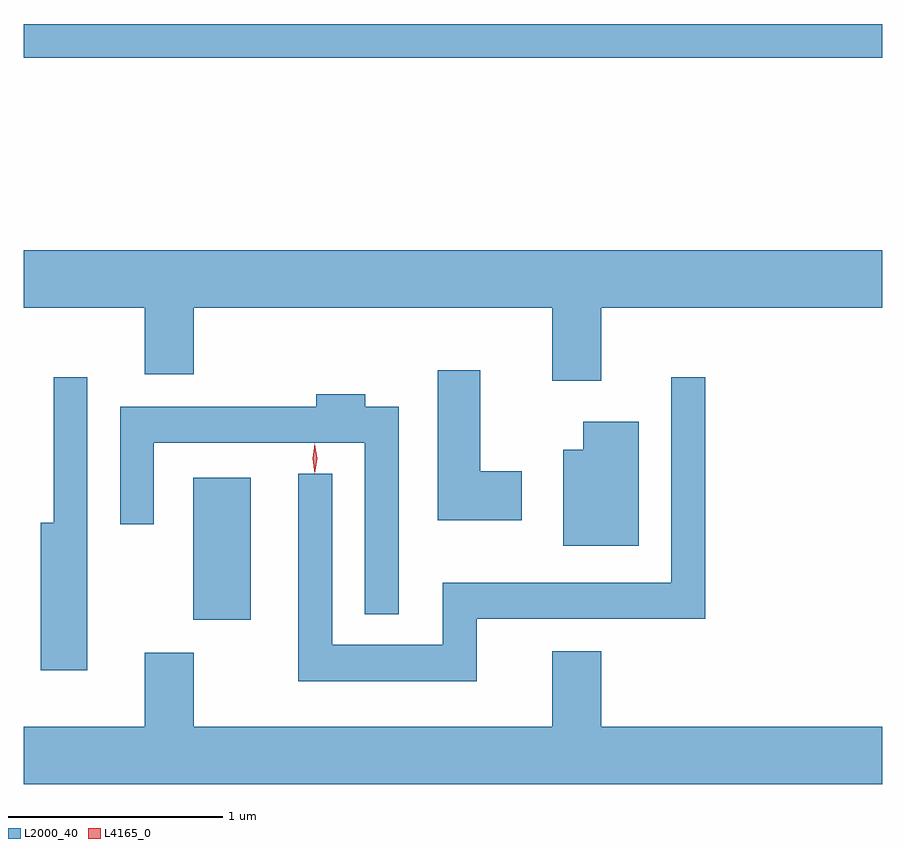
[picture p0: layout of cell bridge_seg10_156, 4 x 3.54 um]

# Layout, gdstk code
import gdstk
lib = gdstk.Library(unit=1e-6, precision=1e-09)
def R(c, l, rs):  # rectangles x0, y0, x1, y1
    for r in rs: c.add(gdstk.rectangle(r[:2], r[2:], *l))
def P(c, l, *ps):  # polygons
    for p in ps: c.add(gdstk.Polygon(p, *l))
L2000_40 = (2000, 40)
L4165_0 = (4165, 0)

bridge_seg10_156 = lib.new_cell('bridge_seg10_156')
R(bridge_seg10_156, L2000_40, [(1663.816,2092.481,1664.084,2093.144), (1663.028,2095.101,1667.028,2095.259)])
P(bridge_seg10_156, L2000_40, [(1665.719,2093.936),(1667.028,2093.936),(1667.028,2094.204),(1663.028,2094.204),(1663.028,2093.936),(1663.591,2093.936),(1663.591,2093.626),(1663.819,2093.626),(1663.819,2093.936),(1665.491,2093.936),(1665.491,2093.596),(1665.719,2093.596)],
  [(1665.349,2093.174),(1665.154,2093.174),(1665.154,2093.644),(1664.956,2093.644),(1664.956,2092.946),(1665.349,2092.946)],
  [(1663.324,2093.613),(1663.166,2093.613),(1663.166,2092.934),(1663.106,2092.934),(1663.106,2092.246),(1663.324,2092.246)],
  [(1665.139,2092.486),(1666.204,2092.486),(1666.204,2093.613),(1666.046,2093.613),(1666.046,2092.654),(1664.981,2092.654),(1664.981,2092.364),(1664.464,2092.364),(1664.464,2093.163),(1664.306,2093.163),(1664.306,2092.196),(1665.139,2092.196)],
  [(1664.774,2093.474),(1664.619,2093.474),(1664.619,2093.534),(1664.391,2093.534),(1664.391,2093.474),(1663.476,2093.474),(1663.476,2092.928),(1663.634,2092.928),(1663.634,2093.306),(1664.616,2093.306),(1664.616,2092.508),(1664.774,2092.508)],
  [(1665.894,2093.404),(1665.636,2093.404),(1665.636,2093.274),(1665.541,2093.274),(1665.541,2092.826),(1665.894,2092.826)],
  [(1667.028,2091.984),(1665.719,2091.984),(1665.719,2092.334),(1665.491,2092.334),(1665.491,2091.984),(1663.819,2091.984),(1663.819,2092.329),(1663.591,2092.329),(1663.591,2091.984),(1663.028,2091.984),(1663.028,2091.716),(1667.028,2091.716)])
P(bridge_seg10_156, L4165_0, [(1664.383,2093.167),(1664.374,2093.234),(1664.383,2093.3),(1664.384,2093.301),(1664.384,2093.3),(1664.394,2093.234),(1664.384,2093.167),(1664.384,2093.167)],
  [(1664.383,2093.164),(1664.374,2093.233),(1664.383,2093.302),(1664.384,2093.303),(1664.384,2093.302),(1664.394,2093.233),(1664.384,2093.164),(1664.384,2093.164)])

lib.write_gds('bridge_seg10_156.gds')
